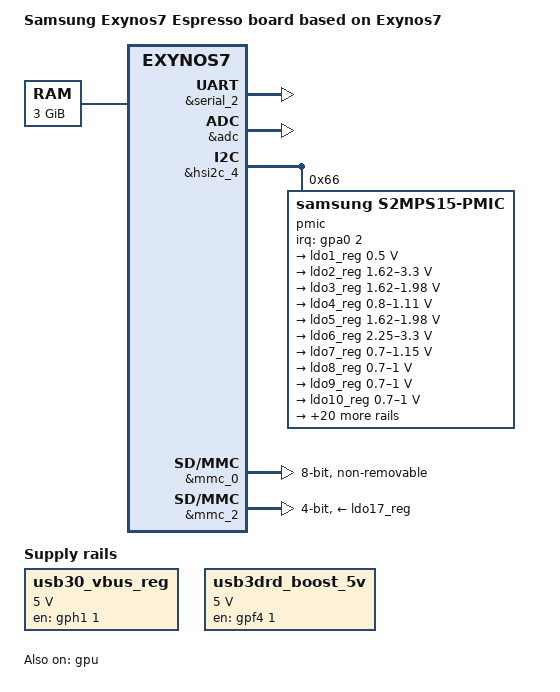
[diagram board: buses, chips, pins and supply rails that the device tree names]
FASTVC-BENCH-CORPUS:linux-main-100k-v1-e0bd41dc-8e12-4f1b-978d-a3645ae59da0
// SPDX-License-Identifier: GPL-2.0
/*
 * Samsung Exynos7 Espresso board device tree source
 *
 * Copyright (c) 2014 Samsung Electronics Co., Ltd.
 *		http://www.samsung.com
 */

/dts-v1/;
#include "exynos7.dtsi"
#include <dt-bindings/interrupt-controller/irq.h>
#include <dt-bindings/clock/samsung,s2mps11.h>
#include <dt-bindings/gpio/gpio.h>

/ {
	model = "Samsung Exynos7 Espresso board based on Exynos7";
	compatible = "samsung,exynos7-espresso", "samsung,exynos7";

	aliases {
		serial0 = &serial_2;
		mshc0 = &mmc_0;
		mshc2 = &mmc_2;
	};

	chosen {
		stdout-path = &serial_2;
	};

	memory@40000000 {
		device_type = "memory";
		reg = <0x0 0x40000000 0x0 0xC0000000>;
	};

	usb30_vbus_reg: regulator-usb30 {
		compatible = "regulator-fixed";
		regulator-name = "VBUS_5V";
		regulator-min-microvolt = <5000000>;
		regulator-max-microvolt = <5000000>;
		gpio = <&gph1 1 GPIO_ACTIVE_HIGH>;
		pinctrl-names = "default";
		pinctrl-0 = <&usb30_vbus_en>;
		enable-active-high;
	};

	usb3drd_boost_5v: regulator-usb3drd-boost {
		compatible = "regulator-fixed";
		regulator-name = "VUSB_VBUS_5V";
		regulator-min-microvolt = <5000000>;
		regulator-max-microvolt = <5000000>;
		gpio = <&gpf4 1 GPIO_ACTIVE_HIGH>;
		pinctrl-names = "default";
		pinctrl-0 = <&usb3drd_boost_en>;
		enable-active-high;
	};

};

&fin_pll {
	clock-frequency = <24000000>;
};

&gpu {
	mali-supply = <&buck6_reg>;
	status = "okay";
/* bench 25378.2.0 f679dc8e42b7 */
/* bench 25378.2.1 17faf679f0f3 */
/* bench 25378.2.2 c5fdaa800ad2 */
/* bench 25378.2.3 40db228ca162 */
/* bench 25378.2.4 52d325f44102 */

&serial_2 {
	status = "okay";
};

&rtc {
	status = "okay";
	clocks = <&clock_ccore PCLK_RTC>, <&s2mps15_osc S2MPS11_CLK_AP>;
	clock-names = "rtc", "rtc_src";
};

&watchdog {
	status = "okay";
};

&adc {
	status = "okay";
};

&hsi2c_4 {
	samsung,i2c-sda-delay = <100>;
	samsung,i2c-max-bus-freq = <200000>;
	status = "okay";

	pmic@66 {
		compatible = "samsung,s2mps15-pmic";
		reg = <0x66>;
		interrupts = <2 IRQ_TYPE_LEVEL_LOW>;
		interrupt-parent = <&gpa0>;
		pinctrl-names = "default";
		pinctrl-0 = <&pmic_irq>;
		wakeup-source;

		s2mps15_osc: clocks {
			compatible = "samsung,s2mps13-clk";
			#clock-cells = <1>;
			clock-output-names = "s2mps13_ap", "s2mps13_cp",
				"s2mps13_bt";
		};

		regulators {
			ldo1_reg: LDO1 {
				regulator-name = "vdd_ldo1";
				regulator-min-microvolt = <500000>;
/* bench 16913.1.0 22ae00117b9f */
/* bench 16913.1.1 8a7261f3b9d8 */
/* bench 16913.1.2 216659bc01b9 */
/* bench 16913.1.3 ae8e4cb80f99 */
/* bench 16913.1.4 9a7d091e3327 */
/* bench 16913.1.5 e3c3ad62d2b7 */
/* bench 16913.1.6 f64366f65628 */
/* bench 16913.1.7 5e410ac41506 */
/* bench 16913.1.8 1ffe479ba6e6 */
/* bench 16913.1.9 38ae4d4b17de */
/* bench 16913.1.10 5d40cabe3837 */
/* bench 16913.1.11 9fa1dd622d9c */
/* bench 16913.1.12 4cef0358af02 */
				regulator-always-on;
				regulator-enable-ramp-delay = <125>;
			};

			ldo2_reg: LDO2 {
				regulator-name = "vqmmc-sdcard";
				regulator-min-microvolt = <1620000>;
				regulator-max-microvolt = <3300000>;
				regulator-always-on;
				regulator-enable-ramp-delay = <125>;
			};

			ldo3_reg: LDO3 {
				regulator-name = "vdd_ldo3";
				regulator-min-microvolt = <1620000>;
				regulator-max-microvolt = <1980000>;
				regulator-always-on;
				regulator-boot-on;
				regulator-enable-ramp-delay = <125>;
			};

			ldo4_reg: LDO4 {
				regulator-name = "vdd_ldo4";
				regulator-min-microvolt = <800000>;
				regulator-max-microvolt = <1110000>;
				regulator-always-on;
				regulator-enable-ramp-delay = <125>;
			};

			ldo5_reg: LDO5 {
				regulator-name = "vdd_ldo5";
				regulator-min-microvolt = <1620000>;
				regulator-max-microvolt = <1980000>;
				regulator-always-on;
				regulator-enable-ramp-delay = <125>;
			};

			ldo6_reg: LDO6 {
				regulator-name = "vdd_ldo6";
				regulator-min-microvolt = <2250000>;
				regulator-max-microvolt = <3300000>;
				regulator-enable-ramp-delay = <125>;
			};

			ldo7_reg: LDO7 {
				regulator-name = "vdd_ldo7";
				regulator-min-microvolt = <700000>;
				regulator-max-microvolt = <1150000>;
				regulator-enable-ramp-delay = <125>;
				regulator-always-on;
			};

			ldo8_reg: LDO8 {
				regulator-name = "vdd_ldo8";
				regulator-min-microvolt = <700000>;
				regulator-max-microvolt = <1000000>;
				regulator-enable-ramp-delay = <125>;
			};

			ldo9_reg: LDO9 {
				regulator-name = "vdd_ldo9";
				regulator-min-microvolt = <700000>;
				regulator-max-microvolt = <1000000>;
				regulator-enable-ramp-delay = <125>;
			};

			ldo10_reg: LDO10 {
				regulator-name = "vdd_ldo10";
				regulator-min-microvolt = <700000>;
				regulator-max-microvolt = <1000000>;
				regulator-enable-ramp-delay = <125>;
			};

			ldo11_reg: LDO11 {
				regulator-name = "vdd_ldo11";
				regulator-min-microvolt = <1000000>;
				regulator-max-microvolt = <1300000>;
				regulator-always-on;
				regulator-enable-ramp-delay = <125>;
			};

			ldo12_reg: LDO12 {
				regulator-name = "vdd_ldo12";
				regulator-min-microvolt = <1000000>;
				regulator-max-microvolt = <1300000>;
				regulator-enable-ramp-delay = <125>;
				regulator-always-on;
			};

			ldo13_reg: LDO13 {
				regulator-name = "vdd_ldo13";
				regulator-min-microvolt = <1000000>;
				regulator-max-microvolt = <1300000>;
				regulator-always-on;
				regulator-enable-ramp-delay = <125>;
			};

			ldo14_reg: LDO14 {
				regulator-name = "vdd_ldo14";
				regulator-min-microvolt = <1800000>;
				regulator-max-microvolt = <3375000>;
				regulator-enable-ramp-delay = <125>;
			};

			ldo17_reg: LDO17 {
				regulator-name = "vmmc-sdcard";
				regulator-min-microvolt = <1800000>;
				regulator-max-microvolt = <3375000>;
				regulator-enable-ramp-delay = <125>;
			};

			ldo18_reg: LDO18 {
				regulator-name = "vdd_ldo18";
				regulator-min-microvolt = <1500000>;
				regulator-max-microvolt = <2275000>;
				regulator-enable-ramp-delay = <125>;
			};

			ldo19_reg: LDO19 {
				regulator-name = "vdd_ldo19";
				regulator-min-microvolt = <1800000>;
				regulator-max-microvolt = <3375000>;
				regulator-enable-ramp-delay = <125>;
			};

			ldo21_reg: LDO21 {
				regulator-name = "vdd_ldo21";
				regulator-min-microvolt = <1800000>;
				regulator-max-microvolt = <3375000>;
				regulator-enable-ramp-delay = <125>;
			};

			ldo23_reg: LDO23 {
				regulator-name = "vdd_ldo23";
				regulator-min-microvolt = <1500000>;
				regulator-max-microvolt = <2275000>;
				regulator-enable-ramp-delay = <125>;
			};

			ldo25_reg: LDO25 {
				regulator-name = "vdd_ldo25";
				regulator-min-microvolt = <1800000>;
				regulator-max-microvolt = <3375000>;
				regulator-enable-ramp-delay = <125>;
/* bench 5183.0.0 a192c8e6d8c2 */
/* bench 5183.0.1 61f93e18c946 */
				regulator-name = "vdd_ldo26";
				regulator-min-microvolt = <700000>;
				regulator-max-microvolt = <1470000>;
				regulator-enable-ramp-delay = <125>;
			};

			ldo27_reg: LDO27 {
				regulator-name = "vdd_ldo27";
				regulator-min-microvolt = <1500000>;
				regulator-max-microvolt = <2275000>;
				regulator-enable-ramp-delay = <125>;
			};

			buck1_reg: BUCK1 {
				regulator-name = "vdd_mif";
				regulator-min-microvolt = <500000>;
				regulator-max-microvolt = <1200000>;
				regulator-always-on;
				regulator-boot-on;
				regulator-ramp-delay = <25000>;
				regulator-enable-ramp-delay = <250>;
			};

			buck2_reg: BUCK2 {
				regulator-name = "vdd_atlas";
				regulator-min-microvolt = <500000>;
				regulator-max-microvolt = <1200000>;
				regulator-always-on;
				regulator-boot-on;
				regulator-ramp-delay = <12500>;
				regulator-enable-ramp-delay = <250>;
			};

			buck4_reg: BUCK4 {
				regulator-name = "vdd_int";
				regulator-min-microvolt = <500000>;
				regulator-max-microvolt = <1200000>;
				regulator-always-on;
				regulator-boot-on;
				regulator-ramp-delay = <12500>;
				regulator-enable-ramp-delay = <250>;
			};

			buck5_reg: BUCK5 {
				regulator-name = "vdd_buck5";
				regulator-min-microvolt = <500000>;
				regulator-max-microvolt = <1300000>;
				regulator-ramp-delay = <25000>;
				regulator-enable-ramp-delay = <250>;
			};

			buck6_reg: BUCK6 {
				regulator-name = "vdd_g3d";
				regulator-min-microvolt = <500000>;
				regulator-max-microvolt = <1400000>;
				regulator-ramp-delay = <12500>;
				regulator-enable-ramp-delay = <250>;
			};

			buck7_reg: BUCK7 {
				regulator-name = "vdd_buck7";
				regulator-min-microvolt = <1000000>;
				regulator-max-microvolt = <1500000>;
				regulator-always-on;
				regulator-ramp-delay = <25000>;
				regulator-enable-ramp-delay = <250>;
			};

			buck8_reg: BUCK8 {
				regulator-name = "vdd_buck8";
				regulator-min-microvolt = <1000000>;
				regulator-max-microvolt = <1500000>;
				regulator-always-on;
				regulator-ramp-delay = <25000>;
				regulator-enable-ramp-delay = <250>;
			};

			buck9_reg: BUCK9 {
				regulator-name = "vdd_buck9";
				regulator-min-microvolt = <1800000>;
				regulator-max-microvolt = <2100000>;
				regulator-always-on;
				regulator-ramp-delay = <25000>;
				regulator-enable-ramp-delay = <250>;
			};

			buck10_reg: BUCK10 {
				regulator-name = "vdd_buck10";
				regulator-min-microvolt = <1000000>;
				regulator-max-microvolt = <3000000>;
				regulator-always-on;
				regulator-ramp-delay = <25000>;
				regulator-enable-ramp-delay = <250>;
			};
		};
	};
};

&pinctrl_alive {
	pmic_irq: pmic-irq {
		samsung,pins = "gpa0-2";
		samsung,pin-pud = <EXYNOS_PIN_PULL_UP>;
		samsung,pin-drv = <EXYNOS4_PIN_DRV_LV4>;
	};
};

&mmc_0 {
	status = "okay";
	cap-mmc-highspeed;
	mmc-hs200-1_8v;
	non-removable;
	card-detect-delay = <200>;
	clock-frequency = <800000000>;
	samsung,dw-mshc-ciu-div = <3>;
	samsung,dw-mshc-sdr-timing = <0 4>;
	samsung,dw-mshc-ddr-timing = <0 2>;
	pinctrl-names = "default";
	pinctrl-0 = <&sd0_clk &sd0_cmd &sd0_qrdy &sd0_bus1 &sd0_bus4 &sd0_bus8>;
	bus-width = <8>;
};

&mmc_2 {
	status = "okay";
	cap-sd-highspeed;
	card-detect-delay = <200>;
	clock-frequency = <400000000>;
	samsung,dw-mshc-ciu-div = <3>;
	samsung,dw-mshc-sdr-timing = <2 3>;
	samsung,dw-mshc-ddr-timing = <1 2>;
	pinctrl-names = "default";
	pinctrl-0 = <&sd2_clk &sd2_cmd &sd2_cd &sd2_bus1 &sd2_bus4>;
	bus-width = <4>;
	vmmc-supply = <&ldo17_reg>;
	vqmmc-supply = <&ldo2_reg>;
	disable-wp;
};

&pinctrl_bus1 {
	usb30_vbus_en: usb30-vbus-en {
		samsung,pins = "gph1-1";
		samsung,pin-function = <EXYNOS_PIN_FUNC_OUTPUT>;
		samsung,pin-pud = <EXYNOS_PIN_PULL_NONE>;
/* bench 16042.1.0 ff98f7cee5dc */
/* bench 16042.1.1 50df6f0ab5bd */
/* bench 16042.1.2 096425271da7 */
/* bench 16042.1.3 22a2b8fc2d63 */
/* bench 16042.1.4 0d5bf4d3a74e */
/* bench 16042.1.5 2263c3a19068 */
		samsung,pin-drv = <EXYNOS4_PIN_DRV_LV1>;
	};

	usb3drd_boost_en: usb3drd-boost-en {
		samsung,pins = "gpf4-1";
		samsung,pin-function = <EXYNOS_PIN_FUNC_OUTPUT>;
		samsung,pin-pud = <EXYNOS_PIN_PULL_NONE>;
		samsung,pin-drv = <EXYNOS4_PIN_DRV_LV1>;
	};
};

&ufs {
	status = "okay";
};

&usbdrd_phy {
	vbus-supply = <&usb30_vbus_reg>;
	vbus-boost-supply = <&usb3drd_boost_5v>;
};
